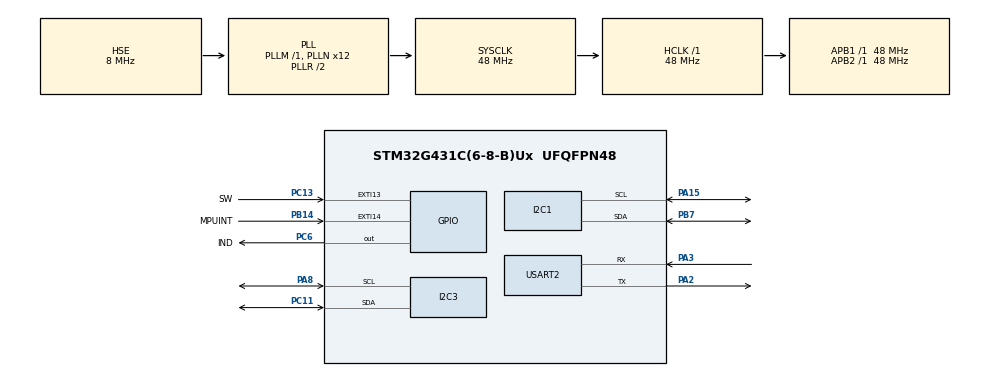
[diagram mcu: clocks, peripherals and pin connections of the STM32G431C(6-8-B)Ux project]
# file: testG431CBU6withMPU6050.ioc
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Dma.I2C1_RX.1.Direction=DMA_PERIPH_TO_MEMORY
Dma.I2C1_RX.1.EventEnable=DISABLE
Dma.I2C1_RX.1.Instance=DMA1_Channel1
Dma.I2C1_RX.1.MemDataAlignment=DMA_MDATAALIGN_BYTE
Dma.I2C1_RX.1.MemInc=DMA_MINC_ENABLE
Dma.I2C1_RX.1.Mode=DMA_NORMAL
Dma.I2C1_RX.1.PeriphDataAlignment=DMA_PDATAALIGN_BYTE
Dma.I2C1_RX.1.PeriphInc=DMA_PINC_DISABLE
Dma.I2C1_RX.1.Polarity=HAL_DMAMUX_REQ_GEN_RISING
Dma.I2C1_RX.1.Priority=DMA_PRIORITY_MEDIUM
Dma.I2C1_RX.1.RequestNumber=1
Dma.I2C1_RX.1.SignalID=NONE
Dma.I2C1_RX.1.SyncEnable=DISABLE
Dma.I2C1_RX.1.SyncPolarity=HAL_DMAMUX_SYNC_NO_EVENT
Dma.I2C1_RX.1.SyncRequestNumber=1
Dma.I2C1_RX.1.SyncSignalID=NONE
Dma.I2C3_TX.0.Direction=DMA_MEMORY_TO_PERIPH
Dma.I2C3_TX.0.EventEnable=DISABLE
Dma.I2C3_TX.0.Instance=DMA1_Channel2
Dma.I2C3_TX.0.MemDataAlignment=DMA_MDATAALIGN_BYTE
Dma.I2C3_TX.0.MemInc=DMA_MINC_ENABLE
Dma.I2C3_TX.0.Mode=DMA_NORMAL
Dma.I2C3_TX.0.PeriphDataAlignment=DMA_PDATAALIGN_BYTE
Dma.I2C3_TX.0.PeriphInc=DMA_PINC_DISABLE
Dma.I2C3_TX.0.Polarity=HAL_DMAMUX_REQ_GEN_RISING
Dma.I2C3_TX.0.Priority=DMA_PRIORITY_MEDIUM
Dma.I2C3_TX.0.RequestNumber=1
Dma.I2C3_TX.0.SignalID=NONE
Dma.I2C3_TX.0.SyncEnable=DISABLE
Dma.I2C3_TX.0.SyncPolarity=HAL_DMAMUX_SYNC_NO_EVENT
Dma.I2C3_TX.0.SyncRequestNumber=1
Dma.I2C3_TX.0.SyncSignalID=NONE
Dma.Request0=I2C3_TX
Dma.Request1=I2C1_RX
FREERTOS.Tasks01=defaultTask,24,128,StartDefaultTask,Default,NULL,Dynamic,NULL,NULL
FREERTOS.configENABLE_FPU=1
FREERTOS.configTOTAL_HEAP_SIZE=10240
I2C1.Timing=0x10805D88
I2C3.Timing=0x10805D88
Mcu.Family=STM32G4
Mcu.Name=STM32G431C(6-8-B)Ux
Mcu.Package=UFQFPN48
NVIC.DMA1_Channel1_IRQn=true\:5\:0\:false\:false\:true\:true\:false\:true\:true
NVIC.DMA1_Channel2_IRQn=true\:5\:0\:true\:false\:true\:true\:false\:true\:true
NVIC.EXTI15_10_IRQn=true\:5\:0\:false\:false\:true\:true\:true\:true\:true
NVIC.I2C1_ER_IRQn=true\:5\:0\:false\:false\:true\:true\:true\:true\:true
NVIC.I2C1_EV_IRQn=true\:5\:0\:false\:false\:true\:true\:true\:true\:true
NVIC.I2C3_ER_IRQn=true\:5\:0\:false\:false\:true\:true\:true\:true\:true
NVIC.I2C3_EV_IRQn=true\:5\:0\:false\:false\:true\:true\:true\:true\:true
NVIC.PriorityGroup=NVIC_PRIORITYGROUP_4
NVIC.TIM6_DAC_IRQn=true\:15\:0\:false\:false\:true\:false\:false\:true\:true
NVIC.TimeBase=TIM6_DAC_IRQn
NVIC.TimeBaseIP=TIM6
PA13.Mode=Serial_Wire
PA13.Signal=SYS_JTMS-SWDIO
PA14.Mode=Serial_Wire
PA14.Signal=SYS_JTCK-SWCLK
PA15.Mode=I2C
PA15.Signal=I2C1_SCL
PA2.Mode=Asynchronous
PA2.Signal=USART2_TX
PA3.Mode=Asynchronous
PA3.Signal=USART2_RX
PA8.Mode=I2C
PA8.Signal=I2C3_SCL
PB14.GPIO_Label=MPUINT
PB14.Signal=GPXTI14
PB7.Mode=I2C
PB7.Signal=I2C1_SDA
PC11.Mode=I2C
PC11.Signal=I2C3_SDA
PC13.GPIO_Label=SW
PC13.GPIO_PuPd=GPIO_PULLDOWN
PC13.Signal=GPXTI13
PC14-OSC32_IN.Mode=LSE-External-Oscillator
PC14-OSC32_IN.Signal=RCC_OSC32_IN
PC15-OSC32_OUT.Mode=LSE-External-Oscillator
PC15-OSC32_OUT.Signal=RCC_OSC32_OUT
PC6.GPIO_Label=IND
PC6.Signal=GPIO_Output
PF0-OSC_IN.Mode=HSE-External-Oscillator
PF0-OSC_IN.Signal=RCC_OSC_IN
PF1-OSC_OUT.Mode=HSE-External-Oscillator
PF1-OSC_OUT.Signal=RCC_OSC_OUT
ProjectManager.HeapSize=0x200
ProjectManager.StackSize=0x400
ProjectManager.TargetToolchain=CMake
RCC.ADC12Freq_Value=48000000
RCC.AHBFreq_Value=48000000
RCC.APB1Freq_Value=48000000
RCC.APB1TimFreq_Value=48000000
RCC.APB2Freq_Value=48000000
RCC.APB2TimFreq_Value=48000000
RCC.CortexFreq_Value=48000000
RCC.EXTERNAL_CLOCK_VALUE=12288000
RCC.HCLKFreq_Value=48000000
RCC.HSE_VALUE=8000000
RCC.HSI48_VALUE=48000000
RCC.HSI_VALUE=16000000
RCC.PLLN=12
RCC.PLLSourceVirtual=RCC_PLLSOURCE_HSE
RCC.SYSCLKFreq_VALUE=48000000
RCC.SYSCLKSource=RCC_SYSCLKSOURCE_PLLCLK
RCC.USBFreq_Value=48000000
RCC.VCOOutputFreq_Value=96000000
USART2.VirtualMode-Asynchronous=VM_ASYNC
VP_FREERTOS_VS_CMSIS_V2.Mode=CMSIS_V2
VP_SYS_VS_DBSignals.Mode=DisableDeadBatterySignals
VP_SYS_VS_tim6.Mode=TIM6
board=custom

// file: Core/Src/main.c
/* USER CODE BEGIN Header */
/**
  ******************************************************************************
  * @file           : main.c
  * @brief          : Main program body
  ******************************************************************************
  * @attention
  *
  * Copyright (c) 2026 STMicroelectronics.
  * All rights reserved.
  *
  * This software is licensed under terms that can be found in the LICENSE file
  * in the root directory of this software component.
  * If no LICENSE file comes with this software, it is provided AS-IS.
  *
  ******************************************************************************
  */
/* USER CODE END Header */
#include "main.h"
#include "cmsis_os.h"
#include "dma.h"
#include "i2c.h"
#include "usart.h"
#include "gpio.h"

/* USER CODE BEGIN Includes */
#include "service.h"
/* USER CODE END Includes */

void SystemClock_Config(void);
void MX_FREERTOS_Init(void);

int main(void)
{

  /* MCU Configuration--------------------------------------------------------*/

  /* Reset of all peripherals, Initializes the Flash interface and the Systick. */
  HAL_Init();

  /* Configure the system clock */
  SystemClock_Config();

  /* Initialize all configured peripherals */
  MX_GPIO_Init();
  MX_DMA_Init();
  MX_I2C3_Init();
  MX_USART2_UART_Init();
  MX_I2C1_Init();

  /* Init scheduler */
  osKernelInitialize();  /* Call init function for freertos objects (in cmsis_os2.c) */
  MX_FREERTOS_Init();

  /* Start scheduler */
  osKernelStart();

  /* We should never get here as control is now taken by the scheduler */

  /* Infinite loop */
  while (1)
  {

  }
}

void SystemClock_Config(void)
{
  RCC_OscInitTypeDef RCC_OscInitStruct = {0};
  RCC_ClkInitTypeDef RCC_ClkInitStruct = {0};

  /** Configure the main internal regulator output voltage
  */
  HAL_PWREx_ControlVoltageScaling(PWR_REGULATOR_VOLTAGE_SCALE1);

  /** Initializes the RCC Oscillators according to the specified parameters
  * in the RCC_OscInitTypeDef structure.
  */
  RCC_OscInitStruct.OscillatorType = RCC_OSCILLATORTYPE_HSE;
  RCC_OscInitStruct.HSEState = RCC_HSE_ON;
  RCC_OscInitStruct.PLL.PLLState = RCC_PLL_ON;
  RCC_OscInitStruct.PLL.PLLSource = RCC_PLLSOURCE_HSE;
  RCC_OscInitStruct.PLL.PLLM = RCC_PLLM_DIV1;
  RCC_OscInitStruct.PLL.PLLN = 12;
  RCC_OscInitStruct.PLL.PLLP = RCC_PLLP_DIV2;
  RCC_OscInitStruct.PLL.PLLQ = RCC_PLLQ_DIV2;
  RCC_OscInitStruct.PLL.PLLR = RCC_PLLR_DIV2;
  if (HAL_RCC_OscConfig(&RCC_OscInitStruct) != HAL_OK)
  {
    Error_Handler();
  }

  /** Initializes the CPU, AHB and APB buses clocks
  */
  RCC_ClkInitStruct.ClockType = RCC_CLOCKTYPE_HCLK|RCC_CLOCKTYPE_SYSCLK
                              |RCC_CLOCKTYPE_PCLK1|RCC_CLOCKTYPE_PCLK2;
  RCC_ClkInitStruct.SYSCLKSource = RCC_SYSCLKSOURCE_PLLCLK;
  RCC_ClkInitStruct.AHBCLKDivider = RCC_SYSCLK_DIV1;
  RCC_ClkInitStruct.APB1CLKDivider = RCC_HCLK_DIV1;
  RCC_ClkInitStruct.APB2CLKDivider = RCC_HCLK_DIV1;

  if (HAL_RCC_ClockConfig(&RCC_ClkInitStruct, FLASH_LATENCY_1) != HAL_OK)
  {
    Error_Handler();
  }
}

void HAL_TIM_PeriodElapsedCallback(TIM_HandleTypeDef *htim)
{
  if (htim->Instance == TIM6)
  {
    HAL_IncTick();
  }
}

void Error_Handler(void)
{
  __disable_irq();
  while (1)
  {
  }
}

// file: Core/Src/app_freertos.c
/* USER CODE BEGIN Header */
/**
  ******************************************************************************
  * File Name          : app_freertos.c
  * Description        : Code for freertos applications
  ******************************************************************************
  * @attention
  *
  * Copyright (c) 2026 STMicroelectronics.
  * All rights reserved.
  *
  * This software is licensed under terms that can be found in the LICENSE file
  * in the root directory of this software component.
  * If no LICENSE file comes with this software, it is provided AS-IS.
  *
  ******************************************************************************
  */
/* USER CODE END Header */

#include "FreeRTOS.h"
#include "task.h"
#include "main.h"
#include "cmsis_os.h"

/* USER CODE BEGIN Includes */
#include "OLED_service.h"
#include "service.h"
/* USER CODE END Includes */

/* USER CODE BEGIN Variables */
osThreadId_t mpuReadTaskHandle;
const osThreadAttr_t mpuReadTask_attributes = {
  .name = "mpuReadTask",
  .priority = (osPriority_t) osPriorityAboveNormal,
  .stack_size = 512 * 4
};

osThreadId_t oledTaskHandle;
const osThreadAttr_t oledTask_attributes = {
  .name = "oledTask",
  .priority = (osPriority_t) osPriorityNormal,
  .stack_size = 512 * 4
};
/* USER CODE END Variables */
/* Definitions for defaultTask */
osThreadId_t defaultTaskHandle;
const osThreadAttr_t defaultTask_attributes = {
  .name = "defaultTask",
  .priority = (osPriority_t) osPriorityNormal,
  .stack_size = 128 * 4
};

/* USER CODE BEGIN FunctionPrototypes */
void StartMpuReadTask(void *argument);
void StartOledTask(void *argument);
/* USER CODE END FunctionPrototypes */

void StartDefaultTask(void *argument);

void MX_FREERTOS_Init(void); /* (MISRA C 2004 rule 8.1) */

void MX_FREERTOS_Init(void) {
  /* USER CODE BEGIN Init */
  Service_Init(); // 僅建立核心物件
  /* USER CODE END Init */

  /* Create the thread(s) */
  /* creation of defaultTask */
  defaultTaskHandle = osThreadNew(StartDefaultTask, NULL, &defaultTask_attributes);

  /* USER CODE BEGIN RTOS_THREADS */
  mpuReadTaskHandle = osThreadNew(StartMpuReadTask, NULL, &mpuReadTask_attributes);
  oledTaskHandle = osThreadNew(StartOledTask, NULL, &oledTask_attributes);
  /* USER CODE END RTOS_THREADS */

}

void StartDefaultTask(void *argument)
{
  /* USER CODE BEGIN StartDefaultTask */
  /* Infinite loop */
  for(;;)
  {
    Button_Process_Task();
  }
  /* USER CODE END StartDefaultTask */
}

/* USER CODE BEGIN Application */
void StartMpuReadTask(void *argument) {
  MPU6050_Read_Task();
}

void StartOledTask(void *argument) {
  OLED_Display_Task();
}
/* USER CODE END Application */
